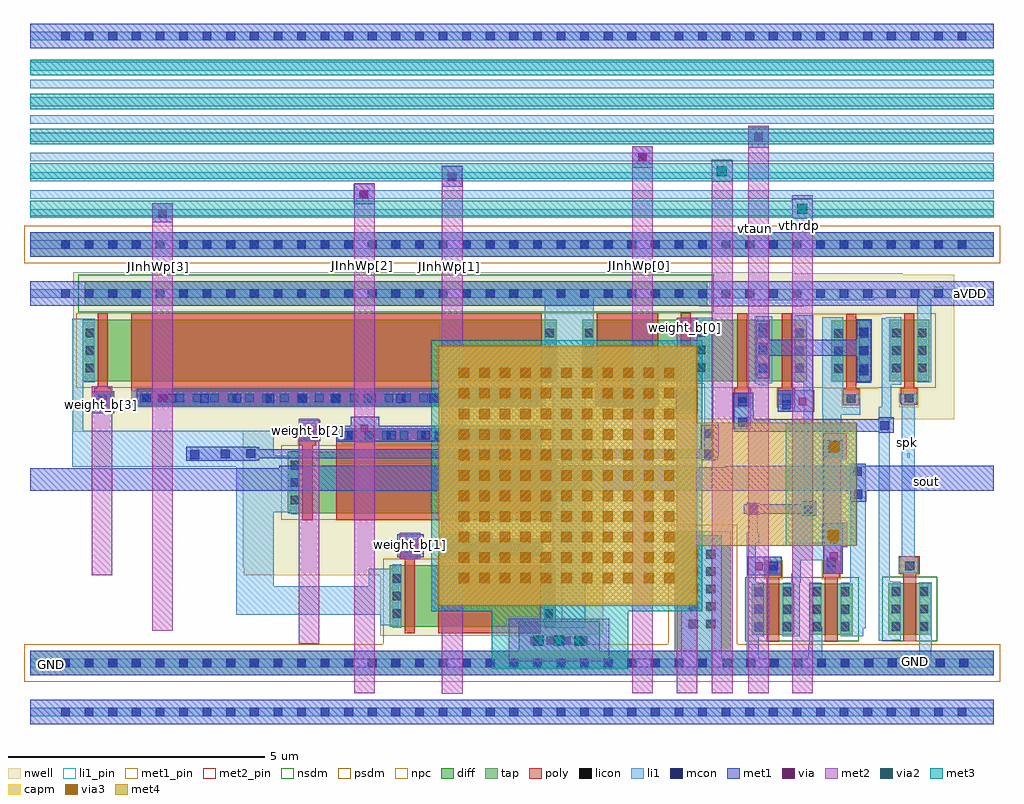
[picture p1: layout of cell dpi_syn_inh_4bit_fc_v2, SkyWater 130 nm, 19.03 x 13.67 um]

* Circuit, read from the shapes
.subckt dpi_syn_inh_4bit_fc_v2 GND JInhWp[0] JInhWp[1] JInhWp[2] JInhWp[3] aVDD sout spk vtaun vthrdp weight_b[0] weight_b[1] weight_b[2] weight_b[3]
XM1 n1 vtaun GND GND sky130_fd_pr__nfet_01v8 w=1 l=0.25
XM2 sout n1 GND GND sky130_fd_pr__nfet_01v8 w=1 l=0.25
XM3 GND spk n2 GND sky130_fd_pr__nfet_01v8 w=1 l=0.25
XM4 n3 weight_b[3] n4 aVDD sky130_fd_pr__pfet_01v8 w=1.2 l=0.2
XM5 aVDD JInhWp[3] n3 aVDD sky130_fd_pr__pfet_01v8 w=1.2 l=8
XM6 n5 weight_b[2] n4 aVDD sky130_fd_pr__pfet_01v8 w=1.2 l=0.2
XM7 aVDD JInhWp[2] n5 aVDD sky130_fd_pr__pfet_01v8 w=1.2 l=4
XM8 n6 weight_b[1] n4 aVDD sky130_fd_pr__pfet_01v8 w=1.2 l=0.2
XM9 aVDD JInhWp[1] n6 aVDD sky130_fd_pr__pfet_01v8 w=1.2 l=2
XM10 n7 JInhWp[0] aVDD aVDD sky130_fd_pr__pfet_01v8 w=1.2 l=1.2
XM11 n4 weight_b[0] n7 aVDD sky130_fd_pr__pfet_01v8 w=1.2 l=0.2
XM12 n8 n2 n4 aVDD sky130_fd_pr__pfet_01v8 w=1.2 l=0.2
XM13 GND vthrdp n8 aVDD sky130_fd_pr__pfet_01v8 w=1.2 l=0.2
XM14 n8 n1 n1 aVDD sky130_fd_pr__pfet_01v8 w=1.2 l=0.2
XM15 aVDD spk n2 aVDD sky130_fd_pr__pfet_01v8 w=1.2 l=0.2
XC16 n1 GND sky130_fd_pr__cap_mim_m3_1 w=5 l=5
.ends

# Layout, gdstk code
import gdstk
lib = gdstk.Library(unit=1e-6, precision=1e-09)
def R(c, l, rs):  # rectangles x0, y0, x1, y1
    for r in rs: c.add(gdstk.rectangle(r[:2], r[2:], *l))
def A(c, l, x, y, w, h, nx, ny, dx, dy):  # array of equal rectangles
    R(c, l, [(x+i*dx, y+j*dy, x+i*dx+w, y+j*dy+h) for i in range(nx) for j in range(ny)])
nwell = (64, 20)
diff = (65, 20)
tap = (65, 44)
poly = (66, 20)
licon = (66, 44)
li1_pin = (67, 16)
li1 = (67, 20)
mcon = (67, 44)
met1_pin = (68, 16)
met1 = (68, 20)
via = (68, 44)
met2_pin = (69, 16)
met2 = (69, 20)
via2 = (69, 44)
met3 = (70, 20)
via3 = (70, 44)
met4 = (71, 20)
capm = (89, 44)
nsdm = (93, 44)
psdm = (94, 20)
npc = (95, 20)

dpi_syn_inh_4bit_fc_v2_n = lib.new_cell('dpi_syn_inh_4bit_fc_v2_norail')
R(dpi_syn_inh_4bit_fc_v2_n, nwell, [(31.98,13.22,35.58,13.255), (31.98,13.255,36.32,14.4), (29.31,14.4,36.32,14.55), (29.3,14.55,36.32,15.115), (29.3,15.115,36.33,17.205), (25.98,17.205,36.33,17.355), (25.98,17.355,36.35,17.445), (25.98,17.445,43.165,18.94), (25.995,18.94,43.165,20.265), (25.995,20.265,42.165,20.295), (25.995,20.295,39.995,20.315)])
R(dpi_syn_inh_4bit_fc_v2_n, diff, [(39.22,13.24,40.05,14.24), (40.355,13.24,41.185,14.24), (41.885,13.245,42.715,14.245), (32.16,13.4,35.4,14.6), (30.17,15.61,35.41,16.81), (40.77,18.175,41.55,19.375), (26.175,18.185,35.415,19.385), (35.91,18.185,40.29,19.385), (41.9,18.185,42.68,19.385)])
R(dpi_syn_inh_4bit_fc_v2_n, tap, [(25.155,12.455,43.935,12.935), (37.715,12.935,38.815,15.265), (26.21,19.655,38.35,20.135)])
R(dpi_syn_inh_4bit_fc_v2_n, poly, [(39.51,13.11,39.76,14.35), (40.645,13.11,40.895,14.35), (42.175,13.115,42.425,14.435), (32.45,13.27,32.65,14.73), (33.11,13.27,35.11,15.06), (39.47,14.35,39.8,14.68), (40.605,14.35,40.935,14.68), (42.09,14.435,42.495,14.775), (32.38,14.73,32.71,15.09), (30.46,15.48,30.66,16.94), (31.12,15.48,35.12,17.27), (30.39,16.94,30.72,17.3), (38.875,17.685,39.205,18.055), (26.395,17.69,26.725,18.055), (37.765,17.7,38.095,18.06), (40.99,17.715,41.32,18.045), (42.19,17.715,42.4,17.725), (27.125,17.725,35.125,19.515), (36.2,17.725,37.4,19.515), (39.73,17.725,40.06,18.055), (42.12,17.725,42.45,18.055), (41.06,18.045,41.26,19.505), (26.465,18.055,26.665,19.515), (38.935,18.055,39.135,19.515), (39.8,18.055,40,19.515), (42.19,18.055,42.39,19.515), (37.835,18.06,38.035,19.52)])
A(dpi_syn_inh_4bit_fc_v2_n, licon, 25.755, 12.61, 0.17, 0.17, 28, 1, 0.46, 0)
A(dpi_syn_inh_4bit_fc_v2_n, licon, 38.655, 12.61, 0.17, 0.17, 8, 1, 0.46, 0)
A(dpi_syn_inh_4bit_fc_v2_n, licon, 42.35, 12.61, 0.17, 0.17, 3, 1, 0.46, 0)
A(dpi_syn_inh_4bit_fc_v2_n, licon, 39.28, 13.315, 0.17, 0.17, 1, 3, 0, 0.34)
A(dpi_syn_inh_4bit_fc_v2_n, licon, 39.82, 13.315, 0.17, 0.17, 1, 3, 0, 0.34)
A(dpi_syn_inh_4bit_fc_v2_n, licon, 40.415, 13.315, 0.17, 0.17, 1, 3, 0, 0.34)
A(dpi_syn_inh_4bit_fc_v2_n, licon, 40.955, 13.315, 0.17, 0.17, 1, 3, 0, 0.34)
A(dpi_syn_inh_4bit_fc_v2_n, licon, 41.945, 13.32, 0.17, 0.17, 1, 3, 0, 0.34)
A(dpi_syn_inh_4bit_fc_v2_n, licon, 42.485, 13.32, 0.17, 0.17, 1, 3, 0, 0.34)
A(dpi_syn_inh_4bit_fc_v2_n, licon, 37.995, 13.37, 0.17, 0.17, 1, 5, 0, 0.34)
A(dpi_syn_inh_4bit_fc_v2_n, licon, 38.335, 13.37, 0.17, 0.17, 1, 5, 0, 0.34)
A(dpi_syn_inh_4bit_fc_v2_n, licon, 32.22, 13.575, 0.17, 0.17, 1, 3, 0, 0.34)
A(dpi_syn_inh_4bit_fc_v2_n, licon, 35.17, 13.575, 0.17, 0.17, 1, 3, 0, 0.34)
A(dpi_syn_inh_4bit_fc_v2_n, licon, 33.345, 14.84, 0.17, 0.17, 5, 1, 0.34, 0)
A(dpi_syn_inh_4bit_fc_v2_n, licon, 30.23, 15.785, 0.17, 0.17, 1, 3, 0, 0.34)
A(dpi_syn_inh_4bit_fc_v2_n, licon, 35.18, 15.785, 0.17, 0.17, 1, 3, 0, 0.34)
A(dpi_syn_inh_4bit_fc_v2_n, licon, 31.335, 17.05, 0.17, 0.17, 11, 1, 0.34, 0)
A(dpi_syn_inh_4bit_fc_v2_n, licon, 27.3, 17.775, 0.17, 0.17, 23, 1, 0.34, 0)
A(dpi_syn_inh_4bit_fc_v2_n, licon, 36.375, 17.775, 0.17, 0.17, 3, 1, 0.34, 0)
A(dpi_syn_inh_4bit_fc_v2_n, licon, 40.83, 18.35, 0.17, 0.17, 1, 3, 0, 0.34)
A(dpi_syn_inh_4bit_fc_v2_n, licon, 41.32, 18.35, 0.17, 0.17, 1, 3, 0, 0.34)
A(dpi_syn_inh_4bit_fc_v2_n, licon, 26.235, 18.36, 0.17, 0.17, 1, 3, 0, 0.34)
A(dpi_syn_inh_4bit_fc_v2_n, licon, 35.185, 18.36, 0.17, 0.17, 1, 3, 0, 0.34)
A(dpi_syn_inh_4bit_fc_v2_n, licon, 35.97, 18.36, 0.17, 0.17, 1, 3, 0, 0.34)
A(dpi_syn_inh_4bit_fc_v2_n, licon, 40.06, 18.36, 0.17, 0.17, 1, 3, 0, 0.34)
A(dpi_syn_inh_4bit_fc_v2_n, licon, 41.96, 18.36, 0.17, 0.17, 1, 3, 0, 0.34)
A(dpi_syn_inh_4bit_fc_v2_n, licon, 42.45, 18.36, 0.17, 0.17, 1, 3, 0, 0.34)
A(dpi_syn_inh_4bit_fc_v2_n, licon, 39.355, 18.365, 0.17, 0.17, 1, 3, 0, 0.34)
A(dpi_syn_inh_4bit_fc_v2_n, licon, 38.145, 18.37, 0.17, 0.17, 1, 3, 0, 0.34)
A(dpi_syn_inh_4bit_fc_v2_n, licon, 26.675, 19.81, 0.17, 0.17, 25, 1, 0.46, 0)
R(dpi_syn_inh_4bit_fc_v2_n, licon, [(39.55,14.43,39.72,14.6), (40.685,14.43,40.855,14.6), (42.215,14.5,42.385,14.67), (32.46,14.84,32.63,15.01), (30.47,17.05,30.64,17.22), (41.07,17.765,41.24,17.935), (26.475,17.77,26.645,17.94), (38.955,17.77,39.125,17.94), (39.81,17.775,39.98,17.945), (42.2,17.775,42.37,17.945), (37.845,17.78,38.015,17.95)])
R(dpi_syn_inh_4bit_fc_v2_n, li1_pin, [(42.25,16.695,42.305,16.785)])
R(dpi_syn_inh_4bit_fc_v2_n, li1, [(25.155,11.65,43.935,11.82), (25.155,12.61,43.935,12.78), (37.845,12.78,38.635,15.18), (39.125,12.78,39.355,13.215), (40.325,12.78,40.595,13.04), (41.575,12.78,42.19,12.79), (42.49,12.78,42.72,12.98), (42.49,12.98,42.73,13.225), (40.34,13.04,40.595,13.39), (41.695,13.13,41.955,13.135), (41.695,13.135,42.12,14.275), (39.125,13.215,39.45,14.26), (39.815,13.215,40.16,13.51), (40.955,13.215,41.39,13.37), (42.485,13.225,42.73,14.265), (40.955,13.37,41.44,14.26), (32.22,13.38,32.39,13.43), (35.17,13.38,35.97,14.62), (40.34,13.39,40.585,14.18), (31.975,13.43,32.39,13.635), (39.82,13.51,40.16,14.255), (29.17,13.635,32.39,14.19), (40.345,14.18,40.585,14.26), (29.17,14.19,29.895,15.63), (31.755,14.19,32.39,14.535), (39.82,14.255,40.165,14.26), (39.125,14.26,39.355,14.27), (39.99,14.26,40.175,14.43), (41.145,14.26,41.44,16.54), (39.125,14.27,39.3,15.035), (41.695,14.275,41.955,14.285), (41.695,14.285,41.91,17.445), (39.47,14.43,39.8,14.76), (40.005,14.43,40.175,14.695), (40.605,14.43,40.965,14.695), (42.085,14.445,42.47,14.755), (32.22,14.535,32.39,14.62), (35.34,14.62,35.97,15.59), (40.005,14.695,40.965,14.795), (42.14,14.755,42.4,17.775), (33.11,14.785,35.11,15.06), (40.005,14.795,40.96,15.035), (32.38,14.84,32.71,15.17), (39.12,15.035,39.37,15.225), (40.01,15.035,40.96,15.04), (40.605,15.04,40.96,17.535), (39.165,15.225,39.34,15.815), (30.23,15.59,30.4,15.63), (35.18,15.59,35.97,16.83), (40.235,15.595,40.415,18.165), (29.17,15.63,30.4,16.52), (25.975,16.52,30.4,16.735), (38.29,16.675,38.465,18.14), (25.975,16.735,29.895,17.22), (30.23,16.735,30.4,16.83), (35.34,16.83,35.97,18.165), (31.12,16.995,35.12,17.27), (30.39,17.05,30.72,17.38), (25.975,17.22,26.19,18.165), (38.875,17.255,39.205,17.945), (41.695,17.445,41.935,17.685), (40.595,17.535,41.335,17.845), (39.73,17.6,40.06,17.945), (26.395,17.61,26.725,17.945), (37.765,17.62,38.095,17.95), (41.75,17.685,41.935,18.115), (36.2,17.72,37.405,17.995), (27.125,17.725,35.125,18), (42.11,17.775,42.45,17.945), (40.595,17.845,41.32,17.935), (40.595,17.935,41.005,19.43), (39.375,18.11,39.55,18.115), (39.345,18.115,39.55,18.145), (41.75,18.115,42.13,19.415), (38.05,18.14,38.465,19.425), (39.28,18.145,39.62,19.45), (41.32,18.155,41.49,18.195), (25.975,18.165,26.405,19.405), (35.185,18.165,36.14,19.81), (40.06,18.165,40.415,19.47), (42.45,18.165,42.62,18.17), (42.45,18.17,42.715,19.81), (41.32,18.195,41.555,19.395), (41.84,19.415,42.13,19.43), (39.215,19.765,41.605,19.805), (38.12,19.805,41.605,19.81), (25.155,19.81,43.935,19.98)])
A(dpi_syn_inh_4bit_fc_v2_n, mcon, 25.755, 11.65, 0.17, 0.17, 39, 2, 0.46, 8.16)
A(dpi_syn_inh_4bit_fc_v2_n, mcon, 25.755, 12.61, 0.17, 0.17, 28, 1, 0.46, 0)
A(dpi_syn_inh_4bit_fc_v2_n, mcon, 38.655, 12.61, 0.17, 0.17, 8, 1, 0.46, 0)
A(dpi_syn_inh_4bit_fc_v2_n, mcon, 42.35, 12.61, 0.17, 0.17, 3, 1, 0.46, 0)
A(dpi_syn_inh_4bit_fc_v2_n, mcon, 32.105, 17.05, 0.17, 0.17, 3, 1, 0.67, 0)
A(dpi_syn_inh_4bit_fc_v2_n, mcon, 29.1, 17.77, 0.17, 0.17, 3, 1, 0.64, 0)
A(dpi_syn_inh_4bit_fc_v2_n, mcon, 33.565, 17.77, 0.17, 0.17, 3, 1, 0.64, 0)
R(dpi_syn_inh_4bit_fc_v2_n, mcon, [(39.555,14.5,39.725,14.67), (40.685,14.57,40.855,14.74), (33.235,14.835,33.405,15.005), (33.62,14.835,33.79,15.005), (34.57,14.835,34.74,15.005), (34.12,14.84,34.29,15.01), (32.46,14.89,32.63,15.06), (40.695,15.105,40.865,15.275), (40.24,15.61,40.41,15.78), (39.165,15.615,39.335,15.785), (41.205,15.9,41.375,16.07), (41.195,16.34,41.365,16.51), (28.275,16.67,28.445,16.84), (28.87,16.685,29.04,16.855), (38.295,16.685,38.465,16.855), (29.365,16.69,29.535,16.86), (40.715,16.785,40.885,16.955), (31.265,17.05,31.435,17.22), (31.675,17.05,31.845,17.22), (34.11,17.05,34.28,17.22), (34.78,17.05,34.95,17.22), (38.295,17.08,38.465,17.25), (30.485,17.125,30.655,17.295), (41.725,17.24,41.895,17.41), (38.96,17.3,39.13,17.47), (39.81,17.645,39.98,17.815), (38.955,17.7,39.125,17.87), (37.845,17.705,38.015,17.875), (26.47,17.73,26.64,17.9), (27.825,17.77,27.995,17.94), (28.465,17.77,28.635,17.94), (31.015,17.77,31.185,17.94), (31.655,17.77,31.825,17.94), (32.29,17.77,32.46,17.94), (32.93,17.77,33.1,17.94), (27.34,17.775,27.51,17.945), (36.28,17.775,36.45,17.945), (36.7,17.775,36.87,17.945), (37.135,17.775,37.305,17.945), (41.32,18.305,41.49,18.475), (39.355,18.35,39.525,18.52), (41.32,18.7,41.49,18.87), (39.355,18.755,39.525,18.925), (41.32,19.06,41.49,19.23), (39.355,19.14,39.525,19.31)])
R(dpi_syn_inh_4bit_fc_v2_n, met1_pin, [(42.56,16.165,42.685,16.31), (42.765,19.84,42.955,20.025)])
R(dpi_syn_inh_4bit_fc_v2_n, met1, [(25.155,11.495,43.935,11.975), (25.155,12.455,43.935,12.935), (34.68,12.935,36.26,13.51), (39.145,14.4,39.8,14.76), (40.61,14.43,40.99,14.98), (33.16,14.74,34.165,14.8), (32.31,14.75,32.825,15.205), (33.12,14.8,35.145,15.12), (40.595,14.98,40.99,15.41), (33.16,15.12,34.165,15.205), (40.61,15.41,40.99,15.415), (40.19,15.56,40.48,15.605), (39.135,15.58,39.375,15.605), (39.06,15.605,40.48,15.785), (39.135,15.785,39.375,15.815), (40.19,15.785,40.48,15.85), (41.145,15.835,41.455,16.055), (25.155,16.055,43.935,16.485), (28.185,16.485,43.935,16.49), (30.01,16.49,43.935,16.505), (30.01,16.505,38.105,16.535), (38.7,16.505,43.935,16.535), (41.15,16.535,41.44,16.575), (28.195,16.635,29.555,16.65), (38.245,16.645,38.56,16.66), (28.195,16.65,29.62,16.68), (38.245,16.66,38.57,16.68), (28.195,16.68,38.57,16.73), (40.6,16.7,40.995,17.04), (28.195,16.73,38.58,16.86), (28.195,16.86,29.62,16.895), (38.225,16.86,38.58,17.34), (28.195,16.895,29.555,16.905), (30.395,17.02,30.81,17.035), (31.115,17.02,35.155,17.32), (30.385,17.035,30.81,17.4), (41.7,17.18,41.99,17.2), (38.875,17.2,41.99,17.25), (38.86,17.25,41.99,17.45), (31.4,17.32,31.955,17.495), (30.395,17.4,30.81,17.425), (38.86,17.45,39.255,17.6), (41.7,17.45,41.99,17.48), (37.735,17.555,38.165,18.02), (26.37,17.565,26.79,17.585), (26.355,17.585,26.79,17.965), (36.85,17.585,37.33,17.7), (39.73,17.595,40.435,18.01), (38.86,17.6,39.25,17.96), (27.23,17.695,35.2,18.04), (36.17,17.7,37.39,18.015), (26.37,17.965,26.79,17.99), (36.85,18.015,37.33,18.115), (41.27,18.16,41.55,18.685), (39.31,18.245,39.56,18.68), (39.31,18.68,40.5,18.685), (39.31,18.685,41.55,18.995), (39.31,18.995,39.565,19.24), (40.5,18.995,41.55,19), (41.27,19,41.55,19.395), (39.31,19.24,39.56,19.37), (38.195,19.65,40.235,19.655), (25.155,19.655,43.935,20.135)])
A(dpi_syn_inh_4bit_fc_v2_n, via, 34.905, 13.05, 0.15, 0.15, 4, 1, 0.32, 0)
R(dpi_syn_inh_4bit_fc_v2_n, via, [(39.285,14.505,39.435,14.655), (40.745,14.7,40.895,14.85), (33.31,14.9,33.46,15.05), (32.505,14.93,32.655,15.08), (40.745,15.02,40.895,15.17), (40.725,16.79,40.875,16.94), (30.53,17.145,30.68,17.295), (31.595,17.19,31.745,17.34), (37.88,17.695,38.03,17.845), (26.485,17.7,26.635,17.85), (40.135,17.715,40.285,17.865), (37.01,17.775,37.16,17.925), (27.66,17.795,27.81,17.945)])
R(dpi_syn_inh_4bit_fc_v2_n, met2_pin, [(32.51,14.865,32.58,15.01), (30.515,17.09,30.545,17.19), (26.495,17.68,26.525,17.825), (33.3,20.355,33.365,20.485), (27.625,20.395,27.675,20.455), (37,20.41,37.055,20.47), (31.615,20.425,31.645,20.48)])
R(dpi_syn_inh_4bit_fc_v2_n, met2, [(33.18,12.095,33.58,14.65), (31.465,12.105,31.865,20.46), (36.89,12.105,37.29,20.46), (37.755,12.105,38.155,19.425), (38.44,12.105,38.845,20.46), (39.15,12.105,39.55,19.42), (40.005,12.105,40.405,19.43), (34.48,12.73,36.445,13.56), (30.39,13.07,30.79,17.455), (27.53,13.325,27.93,20.46), (26.355,14.4,26.755,18.09), (40.625,14.435,40.965,14.945), (33.115,14.65,33.6,15.23), (32.36,14.72,32.76,15.235), (40.625,14.945,41.08,15.43), (33.18,15.23,33.58,20.46), (40.625,15.43,40.965,16.67), (40.625,16.67,41.075,17.17), (39.15,19.42,39.555,19.795), (40.005,19.43,40.41,19.805), (39.15,19.795,39.55,20.46), (40.005,19.805,40.405,20.46)])
A(dpi_syn_inh_4bit_fc_v2_n, via2, 34.96, 13.025, 0.2, 0.2, 3, 1, 0.4, 0)
R(dpi_syn_inh_4bit_fc_v2_n, via2, [(40.725,15.09,40.925,15.29), (40.74,16.82,40.94,17.02)])
R(dpi_syn_inh_4bit_fc_v2_n, met3, [(34.15,12.585,36.81,13.66), (34.15,13.66,36.815,13.705), (32.975,13.705,38.255,18.985), (39.88,14.98,41.265,17.38)])
A(dpi_syn_inh_4bit_fc_v2_n, via3, 33.51, 14.25, 0.2, 0.2, 11, 11, 0.4, 0.4)
R(dpi_syn_inh_4bit_fc_v2_n, via3, [(40.715,15.08,40.915,15.28), (40.735,16.81,40.935,17.01)])
R(dpi_syn_inh_4bit_fc_v2_n, met4, [(33.115,13.81,38.15,14.975), (33.115,14.975,41.26,17.38), (33.115,17.38,38.15,18.875)])
R(dpi_syn_inh_4bit_fc_v2_n, capm, [(33.115,13.845,38.115,18.845)])
R(dpi_syn_inh_4bit_fc_v2_n, nsdm, [(39.095,13.115,41.31,14.365), (41.76,13.12,42.84,14.37), (26.085,19.53,38.475,20.26)])
R(dpi_syn_inh_4bit_fc_v2_n, psdm, [(25.03,12.33,44.06,13.06), (32.035,13.06,35.525,14.725), (37.59,13.06,38.94,15.39), (30.045,15.485,35.535,16.935), (40.645,18.05,41.675,18.06), (26.05,18.06,42.805,19.5), (26.05,19.5,40.415,19.51), (41.775,19.5,42.805,19.51)])
R(dpi_syn_inh_4bit_fc_v2_n, npc, [(39.45,14.33,39.82,14.7), (40.585,14.33,40.955,14.7), (42.115,14.4,42.485,14.77), (32.36,14.74,32.73,15.11), (33.245,14.74,34.975,15.11), (30.37,16.95,30.74,17.32), (31.235,16.95,35.005,17.32), (40.97,17.665,41.34,18.035), (26.375,17.67,26.745,18.04), (38.855,17.67,39.225,18.04), (27.2,17.675,35.05,18.045), (36.275,17.675,37.325,18.045), (39.71,17.675,40.08,18.045), (42.1,17.675,42.47,18.045), (37.745,17.68,38.115,18.05)])
dpi_syn_inh_4bit_fc_v2_n.add(gdstk.Label('GND', (42.42,12.715), layer=68, texttype=5))
dpi_syn_inh_4bit_fc_v2_n.add(gdstk.Label('spk', (42.277,16.74), layer=67, texttype=5))
dpi_syn_inh_4bit_fc_v2_n.add(gdstk.Label('JInhWp[3]', (27.65,20.425), layer=69, texttype=5))
dpi_syn_inh_4bit_fc_v2_n.add(gdstk.Label('JInhWp[2]', (31.63,20.452), layer=69, texttype=5))
dpi_syn_inh_4bit_fc_v2_n.add(gdstk.Label('JInhWp[1]', (33.332,20.42), layer=69, texttype=5))
dpi_syn_inh_4bit_fc_v2_n.add(gdstk.Label('JInhWp[0]', (37.027,20.44), layer=69, texttype=5))
dpi_syn_inh_4bit_fc_v2_n.add(gdstk.Label('sout', (42.622,16.237), layer=68, texttype=5))
dpi_syn_inh_4bit_fc_v2_n.add(gdstk.Label('aVDD', (42.86,19.932), layer=68, texttype=5))
dpi_syn_inh_4bit_fc_v2_n.add(gdstk.Label('weight_b[3]', (26.51,17.752), layer=69, texttype=5))
dpi_syn_inh_4bit_fc_v2_n.add(gdstk.Label('weight_b[2]', (30.53,17.14), layer=69, texttype=5))
dpi_syn_inh_4bit_fc_v2_n.add(gdstk.Label('weight_b[1]', (32.545,14.937), layer=69, texttype=5))
dpi_syn_inh_4bit_fc_v2_n.add(gdstk.Label('weight_b[0]', (37.785,19.405), layer=69, texttype=5))

dpi_syn_inh_4bit_fc_v2 = lib.new_cell('dpi_syn_inh_4bit_fc_v2')
R(dpi_syn_inh_4bit_fc_v2, tap, [(25.155,12.455,43.935,12.935), (25.155,20.615,43.935,21.095)])
A(dpi_syn_inh_4bit_fc_v2, licon, 25.755, 12.61, 0.17, 0.17, 28, 1, 0.46, 0)
A(dpi_syn_inh_4bit_fc_v2, licon, 38.655, 12.61, 0.17, 0.17, 8, 1, 0.46, 0)
A(dpi_syn_inh_4bit_fc_v2, licon, 42.35, 12.61, 0.17, 0.17, 3, 1, 0.46, 0)
A(dpi_syn_inh_4bit_fc_v2, licon, 25.755, 20.77, 0.17, 0.17, 39, 1, 0.46, 0)
R(dpi_syn_inh_4bit_fc_v2, li1_pin, [(42.25,16.99,42.28,17)])
A(dpi_syn_inh_4bit_fc_v2, li1, 25.155, 22.09, 18.78, 0.17, 1, 3, 0, 0.385)
A(dpi_syn_inh_4bit_fc_v2, li1, 25.155, 23.205, 18.78, 0.17, 1, 3, 0, 0.345)
R(dpi_syn_inh_4bit_fc_v2, li1, [(25.155,11.65,43.935,11.82), (25.155,12.61,43.935,12.78), (42.18,16.945,42.395,17.06), (25.155,20.77,43.935,20.94), (25.155,21.37,43.935,21.54), (25.155,21.74,43.935,21.91), (25.155,24.245,43.935,24.42), (25.155,24.835,43.935,25.005)])
A(dpi_syn_inh_4bit_fc_v2, mcon, 25.755, 11.65, 0.17, 0.17, 39, 2, 0.46, 9.12)
A(dpi_syn_inh_4bit_fc_v2, mcon, 25.755, 12.61, 0.17, 0.17, 28, 1, 0.46, 0)
A(dpi_syn_inh_4bit_fc_v2, mcon, 38.655, 12.61, 0.17, 0.17, 8, 1, 0.46, 0)
A(dpi_syn_inh_4bit_fc_v2, mcon, 42.35, 12.61, 0.17, 0.17, 3, 1, 0.46, 0)
A(dpi_syn_inh_4bit_fc_v2, mcon, 25.755, 24.835, 0.17, 0.17, 39, 1, 0.46, 0)
R(dpi_syn_inh_4bit_fc_v2, mcon, [(27.645,21.37,27.815,21.54), (31.57,21.74,31.74,21.91), (33.29,22.09,33.46,22.26), (37.005,22.475,37.175,22.645), (39.265,22.86,39.435,23.03)])
R(dpi_syn_inh_4bit_fc_v2, met1_pin, [(25.54,12.625,25.605,12.715), (42.56,16.165,42.685,16.31), (43.45,19.86,43.51,19.93)])
R(dpi_syn_inh_4bit_fc_v2, met1, [(25.155,11.495,43.935,11.975), (25.155,12.455,43.935,12.935), (42.535,16.055,43.935,16.535), (42.655,19.725,42.795,20.13), (42.8,19.725,43.815,20.13), (25.155,20.615,43.935,21.095), (27.53,21.285,27.93,21.655), (31.455,21.64,31.865,22.04), (33.175,21.98,33.575,22.38), (36.89,22.345,37.29,22.765), (39.15,22.74,39.55,23.14), (25.155,24.68,43.935,25.16)])
R(dpi_syn_inh_4bit_fc_v2, via, [(27.655,21.38,27.805,21.53), (31.585,21.765,31.735,21.915), (33.3,22.105,33.45,22.255), (37.02,22.475,37.17,22.625), (39.275,22.865,39.425,23.015)])
R(dpi_syn_inh_4bit_fc_v2, met2_pin, [(32.525,14.965,32.605,15.03), (30.54,17.185,30.62,17.25), (26.5,17.705,26.58,17.77), (37.895,19.21,37.975,19.275), (33.3,20.355,33.365,20.485), (27.625,20.395,27.675,20.455), (37,20.41,37.055,20.47), (31.615,20.425,31.645,20.48), (39.275,21.155,39.305,21.185), (40.135,21.225,40.155,21.235)])
R(dpi_syn_inh_4bit_fc_v2, met2, [(32.41,14.835,32.75,15.175), (30.435,17.05,30.775,17.39), (26.39,17.605,26.73,17.945), (37.755,19.075,38.095,19.415), (27.53,20.16,27.93,21.655), (31.465,20.16,31.865,22.05), (33.18,20.16,33.58,22.39), (36.89,20.16,37.29,22.77), (38.44,20.16,38.845,22.505), (39.15,20.16,39.55,23.165), (40.005,20.16,40.405,21.815)])
R(dpi_syn_inh_4bit_fc_v2, via2, [(40.105,21.45,40.305,21.65), (38.535,22.18,38.735,22.38)])
R(dpi_syn_inh_4bit_fc_v2, met3, [(40,21.355,40.405,21.405), (25.155,21.405,43.935,21.705), (40,21.705,40.405,21.745), (38.44,22.08,38.835,22.135), (28.865,22.13,29.295,22.135), (25.155,22.135,43.935,22.435), (38.44,22.435,38.835,22.49), (25.155,22.81,43.935,23.11), (25.155,23.49,43.935,23.79), (25.155,24.155,43.935,24.455)])
R(dpi_syn_inh_4bit_fc_v2, psdm, [(25.03,12.33,44.06,13.06), (25.03,20.49,44.06,21.22)])
dpi_syn_inh_4bit_fc_v2.add(gdstk.Reference(dpi_syn_inh_4bit_fc_v2_n, (0,0)))
dpi_syn_inh_4bit_fc_v2.add(gdstk.Label('spk', (42.265,16.995), layer=67, texttype=5))
dpi_syn_inh_4bit_fc_v2.add(gdstk.Label('vthrdp', (40.145,21.23), layer=69, texttype=5))
dpi_syn_inh_4bit_fc_v2.add(gdstk.Label('vtaun', (39.29,21.17), layer=69, texttype=5))
dpi_syn_inh_4bit_fc_v2.add(gdstk.Label('sout', (42.622,16.237), layer=68, texttype=5))
dpi_syn_inh_4bit_fc_v2.add(gdstk.Label('GND', (25.572,12.67), layer=68, texttype=5))
dpi_syn_inh_4bit_fc_v2.add(gdstk.Label('GND', (42.42,12.715), layer=68, texttype=5))
dpi_syn_inh_4bit_fc_v2.add(gdstk.Label('aVDD', (43.48,19.895), layer=68, texttype=5))
dpi_syn_inh_4bit_fc_v2.add(gdstk.Label('JInhWp[0]', (37.027,20.44), layer=69, texttype=5))
dpi_syn_inh_4bit_fc_v2.add(gdstk.Label('JInhWp[1]', (33.332,20.42), layer=69, texttype=5))
dpi_syn_inh_4bit_fc_v2.add(gdstk.Label('JInhWp[2]', (31.63,20.452), layer=69, texttype=5))
dpi_syn_inh_4bit_fc_v2.add(gdstk.Label('JInhWp[3]', (27.65,20.425), layer=69, texttype=5))
dpi_syn_inh_4bit_fc_v2.add(gdstk.Label('weight_b[0]', (37.935,19.242), layer=69, texttype=5))
dpi_syn_inh_4bit_fc_v2.add(gdstk.Label('weight_b[1]', (32.565,14.997), layer=69, texttype=5))
dpi_syn_inh_4bit_fc_v2.add(gdstk.Label('weight_b[2]', (30.58,17.217), layer=69, texttype=5))
dpi_syn_inh_4bit_fc_v2.add(gdstk.Label('weight_b[3]', (26.54,17.737), layer=69, texttype=5))

lib.write_gds('dpi_syn_inh_4bit_fc_v2.gds')
